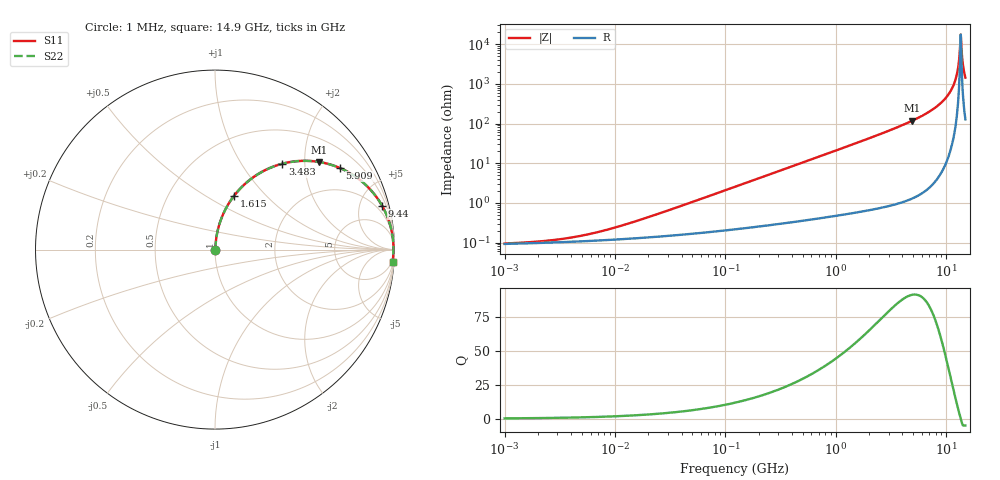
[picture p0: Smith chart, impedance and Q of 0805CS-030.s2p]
# MHz S MA R 50
!Freq  MagS11  AngS11  MagS21  AngS21  MagS12  AngS12  MagS22  AngS22
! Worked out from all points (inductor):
!   801 points, 1 MHz to 14.9 GHz, reference 50 ohm
!   read as one part in series: L = 3.3 nH near 19.43 MHz
!   highest Q = 91.4 at 4.935 GHz (marker M1), where L = 3.81 nH
!   self-resonance near 13.37 GHz
!   S11 on the Smith chart (normalised r, x): 1 MHz: 1.00, +0.00; 1.615 GHz: 1.01, +0.68; 3.483 GHz: 1.02, +1.55; 5.909 GHz: 1.03, +3.03; 9.44 GHz: 1.15, +7.64; 14.9 GHz: 4, -29
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1  0.0009442 12.7  0.9991 -0.0  0.9991 -0.0  0.0009442 12.7
2.432315  0.00111 27.0  0.999 -0.0  0.999 -0.0  0.00111 27.0
5.000446  0.00149 44.0  0.9989 -0.1  0.9989 -0.1  0.00149 44.0
10.03609  0.002393 60.2  0.9988 -0.1  0.9988 -0.1  0.002393 60.2
24.70591  0.005305 74.4  0.9986 -0.3  0.9986 -0.3  0.005305 74.4
123.5406  0.02564 83.7  0.9975 -1.5  0.9975 -1.5  0.02564 83.7
610.3822  0.1254 81.1  0.9883 -7.2  0.9883 -7.2  0.1254 81.1
1614.868  0.32 70.4  0.9419 -18.7  0.9419 -18.7  0.32 70.4
3015.741  0.5466 56.1  0.8305 -33.1  0.8305 -33.1  0.5466 56.1
3483.308  0.6084 51.8  0.7864 -37.5  0.7864 -37.5  0.6084 51.8
4934.803  0.759 40.0  0.6429 -49.4  0.6429 -49.4  0.759 40.0
5909.042  0.8303 33.2  0.5482 -56.1  0.5482 -56.1  0.8303 33.2
7696.26  0.9165 22.8  0.3882 -66.4  0.3882 -66.4  0.9165 22.8
9439.738  0.9629 14.6  0.2521 -74.3  0.2521 -74.3  0.9629 14.6
10644.49  0.9808 9.7  0.1689 -78.6  0.1689 -78.6  0.9808 9.7
11718.08  0.9898 5.8  0.1014 -81.3  0.1014 -81.3  0.9898 5.8
12443.4  0.993 3.4  0.05905 -81.5  0.05905 -81.5  0.993 3.4
13055.84  0.9943 1.4  0.02534 -76.2  0.02534 -76.2  0.9943 1.4
13373.28  0.9944 0.4  0.009494 -53.9  0.009494 -53.9  0.9944 0.4
13863.96  0.9941 -1.0  0.01874 71.2  0.01874 71.2  0.9941 -1.0
14546.33  0.9927 -3.0  0.05223 80.4  0.05223 80.4  0.9927 -3.0
14900  0.9915 -3.9  0.06915 80.9  0.06915 80.9  0.9915 -3.9
